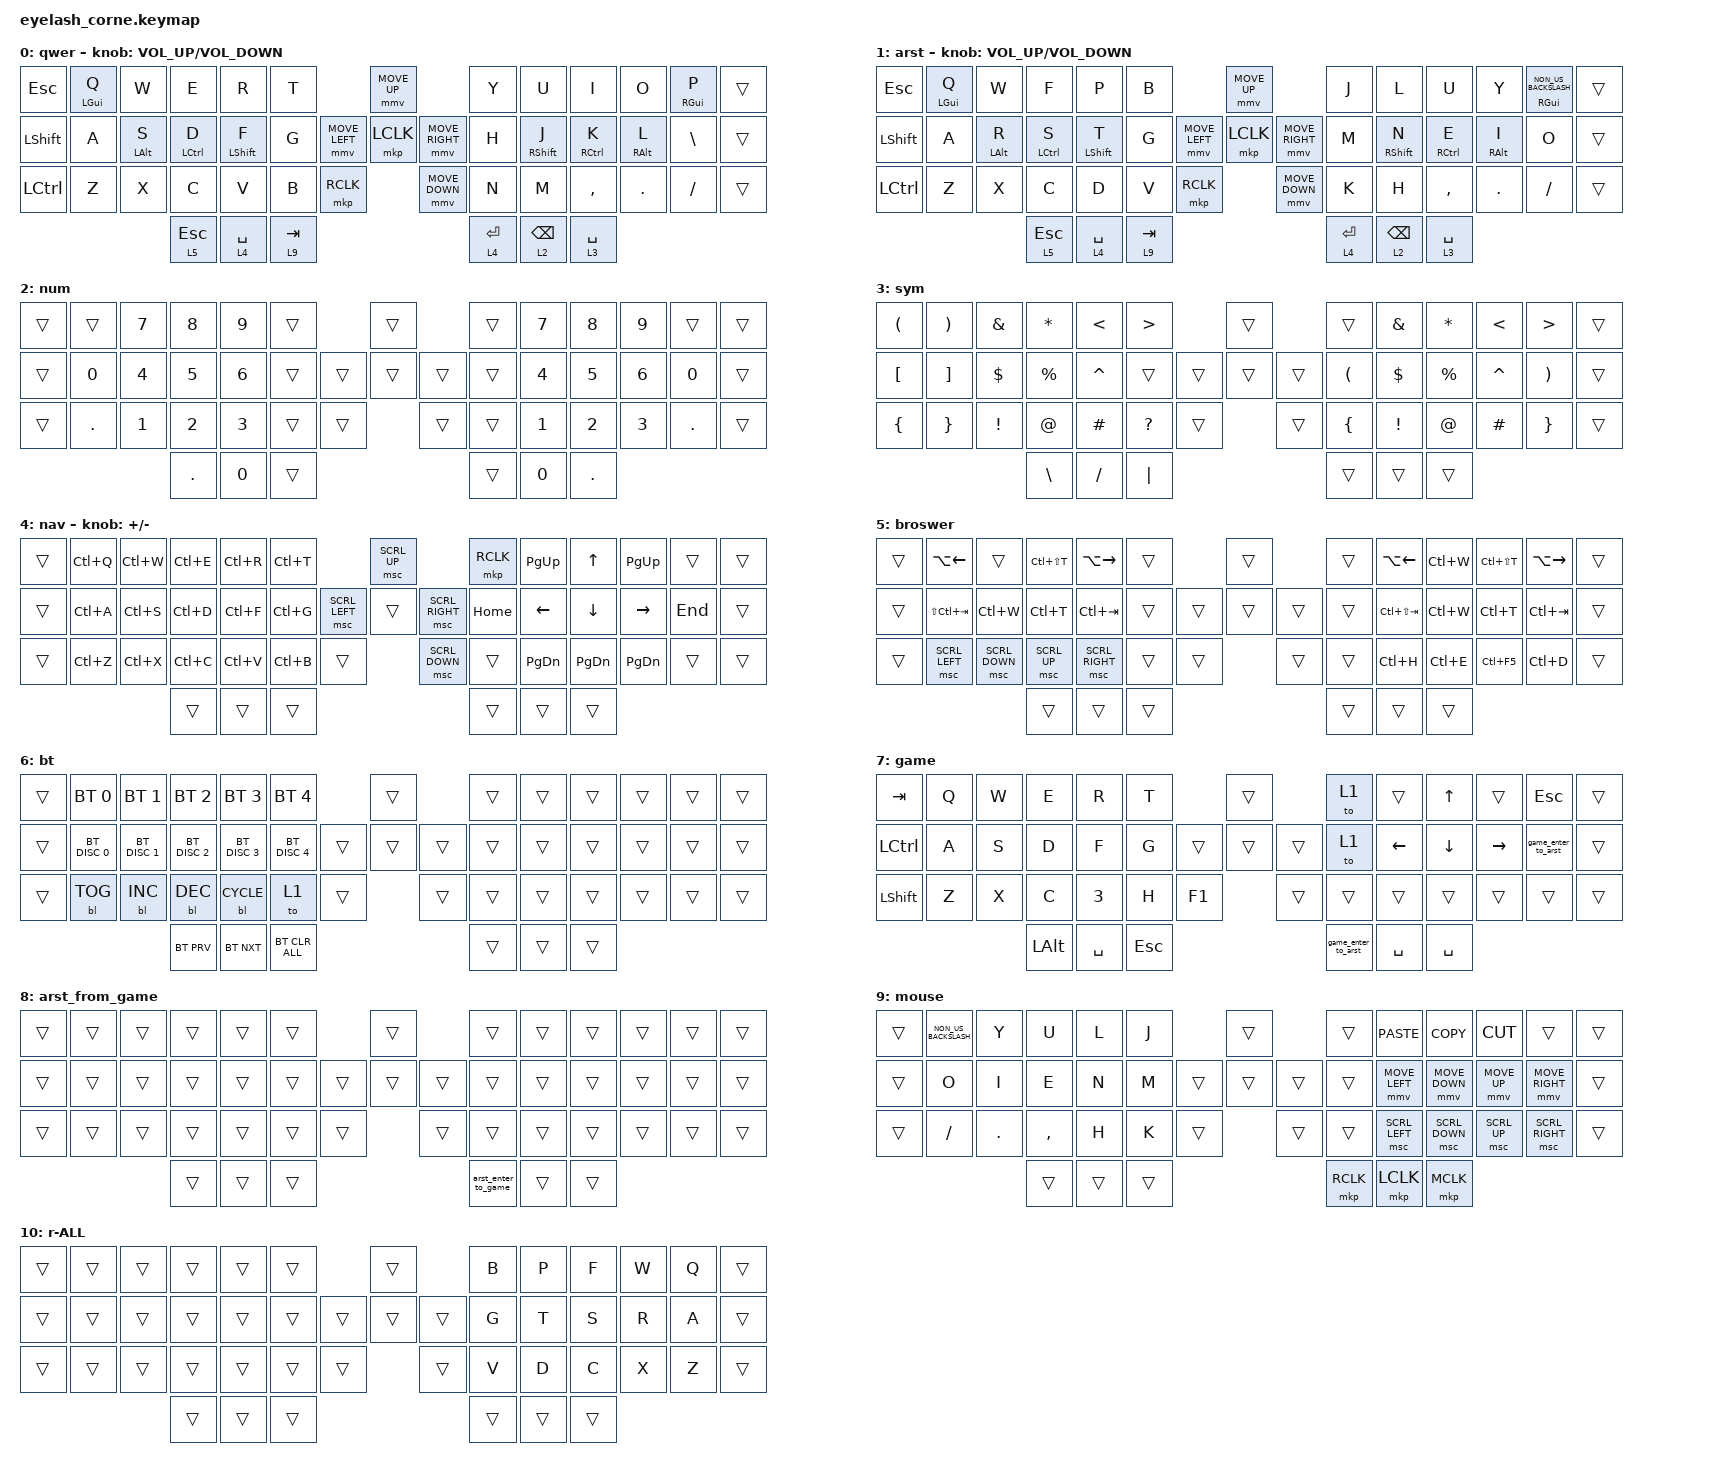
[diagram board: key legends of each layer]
#define ZMK_POINTING_DEFAULT_MOVE_VAL 1500  // 600
#define ZMK_POINTING_DEFAULT_SCRL_VAL 150   // 10

// 图层索引常量，方便在行为和输入处理器里引用

#define L_ARST            0
#define L_QWER            1
#define L_NUM             2
#define L_SYM             3
#define L_NAV             4
#define L_RIGHT_ALL       5
#define L_BROWSER         6
#define L_ARST_FROM_GAME  7
#define L_BT              8
#define L_GAME            9
#define L_MOUSE           10
#define L_MOUSE_SLOW      11
#define L_MOUSE_NORMAL    12
#define L_MOUSE_FAST      13
#define L_MOUSE_TURBO     14

// game 层追求最低延迟：combo 只在非 game 层启用，避免快速连按被组合键吞键

#define COMBO_LAYERS_NO_GAME L_ARST L_QWER L_NUM L_SYM L_NAV L_RIGHT_ALL L_BROWSER L_ARST_FROM_GAME L_BT L_MOUSE
#define COMBO_TIMEOUT_MS 30

#include <input/processors.dtsi>
#include <zephyr/dt-bindings/input/input-event-codes.h>
#include <behaviors.dtsi>
#include <dt-bindings/zmk/backlight.h>
#include <dt-bindings/zmk/bt.h>
#include <dt-bindings/zmk/keys.h>
#include <dt-bindings/zmk/pointing.h>
#include <dt-bindings/zmk/rgb.h>

// 鼠标移动速度缩放：基础速度 + 按图层覆盖，不同图层对应不同速度档位

&mmv_input_listener {
    // 默认“普通”速度

    input-processors = <&zip_xy_scaler 2 1>;

    slow {
        layers = <L_MOUSE_SLOW>;

        // 慢速：缩小移动量

        input-processors = <&zip_xy_scaler 1 4>;
    };

    normal {
        layers = <L_MOUSE_NORMAL>;

        // 普通：维持默认缩放

        input-processors = <&zip_xy_scaler 2 1>;
    };

    fast {
        layers = <L_MOUSE_FAST>;

        // 快：放大移动量

        input-processors = <&zip_xy_scaler 4 1>;
    };

    turbo {
        layers = <L_MOUSE_TURBO>;

        // 飞快：大幅放大移动量

        input-processors = <&zip_xy_scaler 8 1>;
    };
};

&msc_input_listener { input-processors = <&zip_scroll_scaler 2 1>; };

&msc {
    acceleration-exponent = <1>;      // 0
    time-to-max-speed-ms = <100>;       // 300
    delay-ms = <0>;                   // 0
};

&mmv {
    time-to-max-speed-ms = <500>;
    acceleration-exponent = <1>;
    trigger-period-ms = <16>;
};

&soft_off { hold-time-ms = <2000>; };

/ {
    behaviors {
        td0: td0 {
            compatible = "zmk,behavior-tap-dance";
            display-name = "Shift/Caps Lock Tap Dance";
            #binding-cells = <0>;
            bindings = <&kp LEFT_SHIFT>, <&kp CAPS>;
        };

        hm: homerow_mods {
            compatible = "zmk,behavior-hold-tap";
            label = "HOMEROW_MODS";
            #binding-cells = <2>;
            flavor = "tap-preferred";
            tapping-term-ms = <200>;
            require-prior-idle-ms = <100>;
            bindings = <&kp>, <&kp>;
        };
    };

    macros {
        game_enter_to_arst: game_enter_to_arst {
            compatible = "zmk,behavior-macro";
            #binding-cells = <0>;
            wait-ms = <0>;
            tap-ms = <0>;
            bindings = <&kp ENTER &to 9>;
        };

        arst_enter_to_game: arst_enter_to_game {
            compatible = "zmk,behavior-macro";
            #binding-cells = <0>;
            wait-ms = <0>;
            tap-ms = <0>;
            bindings = <&kp ENTER &to 7>;
        };
    };

    rgb_encoder: rgb_encoder {
        compatible = "zmk,behavior-sensor-rotate";
        #sensor-binding-cells = <0>;
        bindings = <&rgb_ug RGB_BRI>, <&rgb_ug RGB_BRD>;
    };

    scroll_encoder: scroll_encoder {
        compatible = "zmk,behavior-sensor-rotate";
        #sensor-binding-cells = <0>;
        bindings = <&msc SCRL_DOWN>, <&msc SCRL_UP>;

        tap-ms = <100>;
    };

    combos {
        compatible = "zmk,combos";

        softoff {
            bindings = <&soft_off>;
            timeout-ms = <COMBO_TIMEOUT_MS>;
            key-positions = <1 15 29>;
            layers = <1 5 4 10 3 2>;
        };

        togame {
            bindings = <&to 7>;
            timeout-ms = <COMBO_TIMEOUT_MS>;
            key-positions = <5 44 30>;
            layers = <1 5 4 10 3 2>;
        };

        toqwer {
            bindings = <&to 0>;
            timeout-ms = <COMBO_TIMEOUT_MS>;
            key-positions = <5 15 44>;
            layers = <1 5 4 10 3 2>;
        };

        toarst {
            bindings = <&to 1>;
            timeout-ms = <COMBO_TIMEOUT_MS>;
            key-positions = <5 44 14>;
            layers = <1 5 4 10 3 2>;
        };

        f1 {
            bindings = <&kp F1>;
            timeout-ms = <COMBO_TIMEOUT_MS>;
            key-positions = <1 29>;
            layers = <1 4 2 10 5 3 0>;
        };

        f2 {
            bindings = <&kp F2>;
            timeout-ms = <COMBO_TIMEOUT_MS>;
            key-positions = <2 30>;
            layers = <1 2 10 4 5 3 0>;
        };

        f3 {
            bindings = <&kp F3>;
            timeout-ms = <COMBO_TIMEOUT_MS>;
            key-positions = <3 31>;
            layers = <1 2 4 10 5 3 0>;
        };

        f4 {
            bindings = <&kp F4>;
            timeout-ms = <COMBO_TIMEOUT_MS>;
            key-positions = <4 32>;
            layers = <1 2 4 10 5 3 0>;
        };

        f5 {
            bindings = <&kp F5>;
            timeout-ms = <COMBO_TIMEOUT_MS>;
            key-positions = <5 33>;
            layers = <1 2 4 10 5 3 0>;
        };

        f6 {
            bindings = <&kp F6>;
            timeout-ms = <COMBO_TIMEOUT_MS>;
            key-positions = <7 36>;
            layers = <1 2 4 10 5 3 0>;
        };

        f7 {
            bindings = <&kp F7>;
            timeout-ms = <COMBO_TIMEOUT_MS>;
            key-positions = <8 37>;
            layers = <2 1 4 10 5 3 0>;
        };

        f8 {
            bindings = <&kp F8>;
            timeout-ms = <COMBO_TIMEOUT_MS>;
            key-positions = <9 38>;
            layers = <2 1 4 10 5 3 0>;
        };

        f9 {
            bindings = <&kp F9>;
            timeout-ms = <COMBO_TIMEOUT_MS>;
            key-positions = <10 39>;
            layers = <2 1 4 10 5 3 0>;
        };

        f10 {
            bindings = <&kp F10>;
            timeout-ms = <COMBO_TIMEOUT_MS>;
            key-positions = <11 40>;
            layers = <1 2 4 10 5 3 0>;
        };

        f11 {
            bindings = <&kp F11>;
            timeout-ms = <COMBO_TIMEOUT_MS>;
            key-positions = <10 38>;
            layers = <1 2 4 10 5 3 0>;
        };

        f12 {
            bindings = <&kp F12>;
            timeout-ms = <COMBO_TIMEOUT_MS>;
            key-positions = <11 39>;
            layers = <1 2 4 10 5 3 0>;
        };

        lkuohao {
            bindings = <&kp BACKSPACE>;
            timeout-ms = <COMBO_TIMEOUT_MS>;
            key-positions = <16 17>;
            layers = <1 2 4 10 5 3 0>;
        };

        rkuohao {
            bindings = <&kp BACKSPACE>;
            timeout-ms = <COMBO_TIMEOUT_MS>;
            key-positions = <23 24>;
            layers = <1 2 4 10 5 3 0>;
        };

        l-m {
            bindings = <&kp DELETE>;
            timeout-ms = <COMBO_TIMEOUT_MS>;
            key-positions = <15 14>;
            layers = <1 2 4 10 5 3 0>;
        };

        r-m {
            bindings = <&kp DELETE>;
            timeout-ms = <COMBO_TIMEOUT_MS>;
            key-positions = <25 26>;
            layers = <1 2 4 10 5 3 0>;
        };

        l-b {
            bindings = <&kp ENTER>;
            timeout-ms = <COMBO_TIMEOUT_MS>;
            key-positions = <15 16>;
            layers = <1 2 4 10 3 5 0>;
        };

        r-b {
            bindings = <&kp ENTER>;
            timeout-ms = <COMBO_TIMEOUT_MS>;
            key-positions = <25 24>;
            layers = <1 2 4 10 5 3 0>;
        };

        mao {
            bindings = <&kp SEMICOLON>;
            timeout-ms = <COMBO_TIMEOUT_MS>;
            key-positions = <14 1>;
        };

        fen {
            bindings = <&kp COLON>;
            timeout-ms = <COMBO_TIMEOUT_MS>;
            key-positions = <15 2>;
        };

        r-mao {
            bindings = <&kp SEMICOLON>;
            timeout-ms = <COMBO_TIMEOUT_MS>;
            key-positions = <11 26>;
        };

        r-fen {
            bindings = <&kp COLON>;
            timeout-ms = <COMBO_TIMEOUT_MS>;
            key-positions = <10 25>;
        };

        danyin {
            bindings = <&kp SQT>;
            timeout-ms = <COMBO_TIMEOUT_MS>;
            key-positions = <1 2>;
        };

        shuangyin {
            bindings = <&kp DOUBLE_QUOTES>;
            timeout-ms = <COMBO_TIMEOUT_MS>;
            key-positions = <1 3>;
        };

        r-danyin {
            bindings = <&kp SQT>;
            timeout-ms = <COMBO_TIMEOUT_MS>;
            key-positions = <11 10>;
        };

        r-shuangyin {
            bindings = <&kp DOUBLE_QUOTES>;
            timeout-ms = <COMBO_TIMEOUT_MS>;
            key-positions = <11 9>;
        };

        under {
            bindings = <&kp UNDERSCORE>;
            timeout-ms = <COMBO_TIMEOUT_MS>;
            key-positions = <30 32>;
        };

        min {
            bindings = <&kp MINUS>;
            timeout-ms = <COMBO_TIMEOUT_MS>;
            key-positions = <17 15>;
        };

        r-min {
            bindings = <&kp MINUS>;
            timeout-ms = <COMBO_TIMEOUT_MS>;
            key-positions = <23 25>;
        };

        r-under {
            bindings = <&kp UNDERSCORE>;
            timeout-ms = <COMBO_TIMEOUT_MS>;
            key-positions = <37 39>;
        };

        plus {
            bindings = <&kp PLUS>;
            timeout-ms = <COMBO_TIMEOUT_MS>;
            key-positions = <14 16>;
        };

        equal {
            bindings = <&kp EQUAL>;
            timeout-ms = <COMBO_TIMEOUT_MS>;
            key-positions = <29 31>;
        };

        r-plus {
            bindings = <&kp PLUS>;
            timeout-ms = <COMBO_TIMEOUT_MS>;
            key-positions = <24 26>;
        };

        r-equl {
            bindings = <&kp EQUAL>;
            timeout-ms = <COMBO_TIMEOUT_MS>;
            key-positions = <38 40>;
        };

        l-to-num {
            bindings = <&mo 2>;
            timeout-ms = <COMBO_TIMEOUT_MS>;
            key-positions = <43 14>;
            slow-release;
        };

        l-to-fuhao {
            bindings = <&mo 3>;
            timeout-ms = <COMBO_TIMEOUT_MS>;
            key-positions = <43 29>;
            slow-release;
        };

        zuoshang {
            bindings = <&kp GRAVE>;
            timeout-ms = <COMBO_TIMEOUT_MS>;
            key-positions = <1 4>;
        };

        zuoshang2 {
            bindings = <&kp TILDE>;
            timeout-ms = <COMBO_TIMEOUT_MS>;
            key-positions = <1 5>;
        };

        aa {
            bindings = <&kp LEFT_PARENTHESIS>;
            timeout-ms = <COMBO_TIMEOUT_MS>;
            key-positions = <4 17>;
        };

        a2 {
            bindings = <&kp RIGHT_PARENTHESIS>;
            timeout-ms = <COMBO_TIMEOUT_MS>;
            key-positions = <5 18>;
        };

        a3 {
            bindings = <&kp LEFT_BRACKET>;
            timeout-ms = <COMBO_TIMEOUT_MS>;
            key-positions = <7 22>;
        };

        a4 {
            bindings = <&kp RIGHT_BRACKET>;
            timeout-ms = <COMBO_TIMEOUT_MS>;
            key-positions = <8 23>;
        };

        a6 {
            bindings = <&kp QUESTION>;
            timeout-ms = <COMBO_TIMEOUT_MS>;
            key-positions = <3 16>;
        };

        a5 {
            bindings = <&kp EXCLAMATION>;
            timeout-ms = <COMBO_TIMEOUT_MS>;
            key-positions = <9 24>;
        };

        cd {
            bindings = <&kp LC(C)>;
            key-positions = <31 32>;
        };

        cv {
            bindings = <&kp LC(V)>;
            key-positions = <30 31>;
        };

        cd2 {
            bindings = <&kp LC(C)>;
            key-positions = <37 38>;
        };

        cv2 {
            bindings = <&kp LC(V)>;
            key-positions = <39 38>;
        };

        cx {
            bindings = <&kp LC(X)>;
            key-positions = <30 29>;
        };

        cx2 {
            bindings = <&kp LC(X)>;
            key-positions = <39 40>;
        };

        bt {
            bindings = <&to 6>;
            key-positions = <44 5 31>;
        };
    };

    keymap {
        compatible = "zmk,keymap";

        qwer {
            bindings = <
&kp ESCAPE  &hm LEFT_GUI Q  &kp W           &kp E         &kp R             &kp T                                   &mmv MOVE_UP                     &kp Y        &kp U              &kp I        &kp O            &hm RIGHT_GUI P  &trans
&kp LSHIFT  &kp A           &hm LEFT_ALT S  &hm LCTRL D   &hm LEFT_SHIFT F  &kp G                   &mmv MOVE_LEFT  &mkp LCLK       &mmv MOVE_RIGHT  &kp H        &hm RIGHT_SHIFT J  &hm RCTRL K  &hm RIGHT_ALT L  &kp BACKSLASH    &trans
&kp LCTRL   &kp Z           &kp X           &kp C         &kp V             &kp B      &mkp RCLK                    &mmv MOVE_DOWN                   &kp N        &kp M              &kp COMMA    &kp DOT          &kp FSLH         &trans
                                            &lt 5 ESCAPE  &lt 4 SPACE       &lt 9 TAB                                                                &lt 4 ENTER  &lt 2 BACKSPACE    &lt 3 SPACE
            >;

            label = "qwer";
            sensor-bindings = <&inc_dec_kp C_VOL_UP C_VOLUME_DOWN>;
        };

        arst {
            bindings = <
&kp ESCAPE  &hm LEFT_GUI Q  &kp W           &kp F         &kp P             &kp B                                   &mmv MOVE_UP                     &kp J        &kp L              &kp U        &kp Y            &hm RIGHT_GUI NON_US_BACKSLASH  &trans
&kp LSHFT   &kp A           &hm LEFT_ALT R  &hm LCTRL S   &hm LEFT_SHIFT T  &kp G                   &mmv MOVE_LEFT  &mkp LCLK       &mmv MOVE_RIGHT  &kp M        &hm RIGHT_SHIFT N  &hm RCTRL E  &hm RIGHT_ALT I  &kp O                           &trans
&kp LCTRL   &kp Z           &kp X           &kp C         &kp D             &kp V      &mkp RCLK                    &mmv MOVE_DOWN                   &kp K        &kp H              &kp COMMA    &kp PERIOD       &kp SLASH                       &trans
                                            &lt 5 ESCAPE  &lt 4 SPACE       &lt 9 TAB                                                                &lt 4 ENTER  &lt 2 BACKSPACE    &lt 3 SPACE
            >;

            label = "arst";
            sensor-bindings = <&inc_dec_kp C_VOL_UP C_VOLUME_DOWN>;
        };

        num {
            bindings = <
&trans  &trans        &kp NUMBER_7  &kp NUMBER_8  &kp NUMBER_9  &trans                    &trans          &trans  &kp NUMBER_7  &kp NUMBER_8  &kp NUMBER_9  &trans        &trans
&trans  &kp NUMBER_0  &kp NUMBER_4  &kp NUMBER_5  &kp NUMBER_6  &trans            &trans  &trans  &trans  &trans  &kp NUMBER_4  &kp NUMBER_5  &kp NUMBER_6  &kp NUMBER_0  &trans
&trans  &kp PERIOD    &kp NUMBER_1  &kp NUMBER_2  &kp NUMBER_3  &trans  &trans            &trans          &trans  &kp NUMBER_1  &kp NUMBER_2  &kp NUMBER_3  &kp PERIOD    &trans
                                    &kp PERIOD    &kp NUMBER_0  &trans                                    &trans  &kp NUMBER_0  &kp PERIOD
            >;

            label = "num";
        };

        sym {
            bindings = <
&kp LEFT_PARENTHESIS  &kp RIGHT_PARENTHESIS  &kp AMPERSAND    &kp ASTERISK   &kp LESS_THAN  &kp GREATER_THAN                    &trans          &trans                &kp AMPERSAND  &kp ASTERISK  &kp LESS_THAN  &kp GREATER_THAN       &trans
&kp LEFT_BRACKET      &kp RIGHT_BRACKET      &kp DOLLAR       &kp PERCENT    &kp CARET      &trans                      &trans  &trans  &trans  &kp LEFT_PARENTHESIS  &kp DOLLAR     &kp PERCENT   &kp CARET      &kp RIGHT_PARENTHESIS  &trans
&kp LEFT_BRACE        &kp RIGHT_BRACE        &kp EXCLAMATION  &kp AT_SIGN    &kp HASH       &kp QUESTION      &trans            &trans          &kp LEFT_BRACE        &kp EXCL       &kp AT_SIGN   &kp HASH       &kp RIGHT_BRACE        &trans
                                                              &kp BACKSLASH  &kp SLASH      &kp PIPE                                            &trans                &trans         &trans
            >;

            label = "sym";
        };

        nav {
            bindings = <
&trans  &kp LC(Q)  &kp LC(W)  &kp LC(E)  &kp LC(R)  &kp LC(T)                            &msc SCRL_UP                     &mkp RCLK  &kp PAGE_UP    &kp UP_ARROW   &kp PAGE_UP    &trans   &trans
&trans  &kp LC(A)  &kp LC(S)  &kp LC(D)  &kp LC(F)  &kp LC(G)            &msc SCRL_LEFT  &trans          &msc SCRL_RIGHT  &kp HOME   &kp LEFT       &kp DOWN       &kp RIGHT      &kp END  &trans
&trans  &kp LC(Z)  &kp LC(X)  &kp LC(C)  &kp LC(V)  &kp LC(B)  &trans                    &msc SCRL_DOWN                   &trans     &kp PAGE_DOWN  &kp PAGE_DOWN  &kp PAGE_DOWN  &trans   &trans
                              &trans     &trans     &trans                                                                &trans     &trans         &trans
            >;

            label = "nav";
            sensor-bindings = <&inc_dec_kp PLUS MINUS>;
        };

        broswer {
            bindings = <
&trans  &kp LA(LEFT)     &trans          &kp LC(LS(T))  &kp LA(RIGHT)    &trans                    &trans          &trans  &kp LA(LEFT)     &kp LC(W)  &kp LC(LS(T))  &kp LA(RIGHT)  &trans
&trans  &kp LS(LC(TAB))  &kp LC(W)       &kp LC(T)      &kp LC(TAB)      &trans            &trans  &trans  &trans  &trans  &kp LC(LS(TAB))  &kp LC(W)  &kp LC(T)      &kp LC(TAB)    &trans
&trans  &msc SCRL_LEFT   &msc SCRL_DOWN  &msc SCRL_UP   &msc SCRL_RIGHT  &trans  &trans            &trans          &trans  &kp LC(H)        &kp LC(E)  &kp LC(F5)     &kp LC(D)      &trans
                                         &trans         &trans           &trans                                    &trans  &trans           &trans
            >;

            label = "broswer";
        };

        bt {
            bindings = <
&trans  &bt BT_SEL 0   &bt BT_SEL 1   &bt BT_SEL 2   &bt BT_SEL 3   &bt BT_SEL 4                      &trans          &trans  &trans  &trans  &trans  &trans  &trans
&trans  &bt BT_DISC 0  &bt BT_DISC 1  &bt BT_DISC 2  &bt BT_DISC 3  &bt BT_DISC 4             &trans  &trans  &trans  &trans  &trans  &trans  &trans  &trans  &trans
&trans  &bl BL_TOG     &bl BL_INC     &bl BL_DEC     &bl BL_CYCLE   &to 1           &trans            &trans          &trans  &trans  &trans  &trans  &trans  &trans
                                      &bt BT_PRV     &bt BT_NXT     &bt BT_CLR_ALL                                    &trans  &trans  &trans
            >;

            label = "bt";
        };

        game {
            bindings = <
&kp TAB         &kp Q  &kp W  &kp E         &kp R         &kp T                         &trans          &to 1                &trans          &kp UP_ARROW    &trans           &kp ESCAPE           &trans
&kp LCTRL       &kp A  &kp S  &kp D         &kp F         &kp G                 &trans  &trans  &trans  &to 1                &kp LEFT_ARROW  &kp DOWN_ARROW  &kp RIGHT_ARROW  &game_enter_to_arst  &trans
&kp LEFT_SHIFT  &kp Z  &kp X  &kp C         &kp NUMBER_3  &kp H       &kp F1            &trans          &trans               &trans          &trans          &trans           &trans               &trans
                              &kp LEFT_ALT  &kp SPACE     &kp ESCAPE                                    &game_enter_to_arst  &kp SPACE       &kp SPACE
            >;

            label = "game";
        };

        game-talk {
            bindings = <
&trans  &trans  &trans  &trans  &trans  &trans                    &trans          &trans               &trans  &trans  &trans  &trans  &trans
&trans  &trans  &trans  &trans  &trans  &trans            &trans  &trans  &trans  &trans               &trans  &trans  &trans  &trans  &trans
&trans  &trans  &trans  &trans  &trans  &trans  &trans            &trans          &trans               &trans  &trans  &trans  &trans  &trans
                        &trans  &trans  &trans                                    &arst_enter_to_game  &trans  &trans
            >;

            label = "arst_from_game";
        };

        l-AII-mouse {
            bindings = <
&trans  &kp NON_US_BACKSLASH  &kp Y       &kp U      &kp L   &kp J                     &trans          &trans     &kp K_PASTE     &kp K_COPY      &kp K_CUT     &trans           &trans
&trans  &kp O                 &kp I       &kp E      &kp N   &kp M             &trans  &trans  &trans  &trans     &mmv MOVE_LEFT  &mmv MOVE_DOWN  &mmv MOVE_UP  &mmv MOVE_RIGHT  &trans
&trans  &kp SLASH             &kp PERIOD  &kp COMMA  &kp H   &kp K   &trans            &trans          &trans     &msc SCRL_LEFT  &msc SCRL_DOWN  &msc SCRL_UP  &msc SCRL_RIGHT  &trans
                                          &trans     &trans  &trans                                    &mkp RCLK  &mkp LCLK       &mkp MCLK
            >;

            label = "mouse";
        };

        r-ALL {
            bindings = <
&trans  &trans  &trans  &trans  &trans  &trans                    &trans          &kp B   &kp P   &kp F   &kp W  &kp Q  &trans
&trans  &trans  &trans  &trans  &trans  &trans            &trans  &trans  &trans  &kp G   &kp T   &kp S   &kp R  &kp A  &trans
&trans  &trans  &trans  &trans  &trans  &trans  &trans            &trans          &kp V   &kp D   &kp C   &kp X  &kp Z  &trans
                        &trans  &trans  &trans                                    &trans  &trans  &trans
            >;
        };
    };
};
